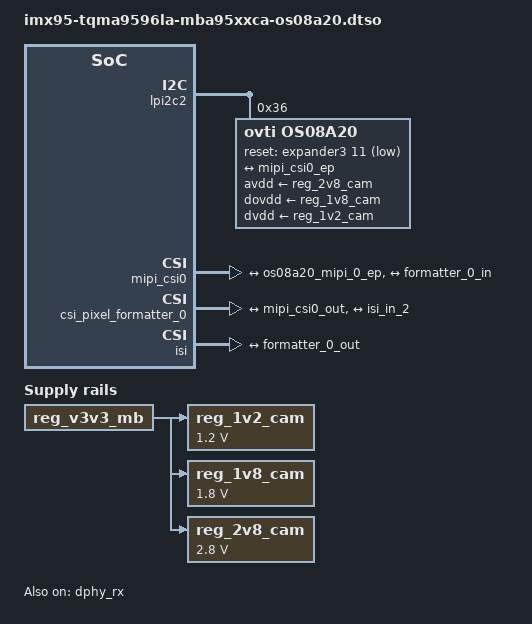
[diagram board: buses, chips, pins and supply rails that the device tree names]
// SPDX-License-Identifier: (GPL-2.0-or-later OR MIT)
/*
 * Copyright (c) 2026 TQ-Systems GmbH <linux@ew.tq-group.com>,
 * D-82229 Seefeld, Germany.
 * Author: Paul Gerber
 */

/dts-v1/;
/plugin/;

#include <dt-bindings/gpio/gpio.h>

&{/} {
	clk_os08a20_fixed: os08a20-xclk {
		compatible = "fixed-clock";
		#clock-cells = <0>;
		clock-frequency = <24000000>;
	};

	reg_1v2_cam: regulator-1v2 {
		compatible = "regulator-fixed";
		regulator-name = "VDD_1V2";
		regulator-min-microvolt = <1200000>;
		regulator-max-microvolt = <1200000>;
		vin-supply = <&reg_v3v3_mb>;
		regulator-always-on;
	};

	reg_1v8_cam: regulator-1v8 {
		compatible = "regulator-fixed";
		regulator-name = "IOVDD_1V8";
		regulator-min-microvolt = <1800000>;
		regulator-max-microvolt = <1800000>;
		vin-supply = <&reg_v3v3_mb>;
		regulator-always-on;
	};

	reg_2v8_cam: regulator-2v8 {
		compatible = "regulator-fixed";
		regulator-name = "VDD_2V8";
		regulator-min-microvolt = <2800000>;
		regulator-max-microvolt = <2800000>;
		vin-supply = <&reg_v3v3_mb>;
		regulator-always-on;
	};
};

&lpi2c2 {
	#address-cells = <1>;
	#size-cells = <0>;
	status = "okay";

	os08a20: os08a20_mipi@36 {
		compatible = "ovti,os08a20";
		reg = <0x36>;
		clocks = <&clk_os08a20_fixed>;
		reset-gpios = <&expander3 11 GPIO_ACTIVE_LOW>;
		avdd-supply = <&reg_2v8_cam>;
		dovdd-supply = <&reg_1v8_cam>;
		dvdd-supply = <&reg_1v2_cam>;
		orientation = <2>;
		rotation = <0>;
		status = "okay";

		port {
			os08a20_mipi_0_ep: endpoint {
				remote-endpoint = <&mipi_csi0_ep>;
				data-lanes = <1 2 3 4>;
				clock-lanes = <0>;
			};
		};
	};
};

&dphy_rx {
	status = "okay";
};

&mipi_csi0 {
	status = "okay";

	ports {
		#address-cells = <1>;
		#size-cells = <0>;

		port@0 {
			reg = <0>;
			mipi_csi0_ep: endpoint {
				remote-endpoint = <&os08a20_mipi_0_ep>;
				data-lanes = <1 2 3 4>;
				clock-lanes = <0>;
			};
		};

		port@1 {
			reg = <1>;
				mipi_csi0_out: endpoint {
				remote-endpoint = <&formatter_0_in>;
			};
		};
	};
};

&csi_pixel_formatter_0 {
	status = "okay";

	ports {
		#address-cells = <1>;
		#size-cells = <0>;

		port@0 {
			reg = <0>;

			formatter_0_in: endpoint {
				remote-endpoint = <&mipi_csi0_out>;
			};
		};

		port@1 {
			reg = <1>;

			formatter_0_out: endpoint {
				remote-endpoint = <&isi_in_2>;
			};
		};
	};
};

&isi {
	status = "okay";

	ports {
		#address-cells = <1>;
		#size-cells = <0>;

		port@2 {
			reg = <2>;

			isi_in_2: endpoint {
				remote-endpoint = <&formatter_0_out>;
			};
		};
	};
};
